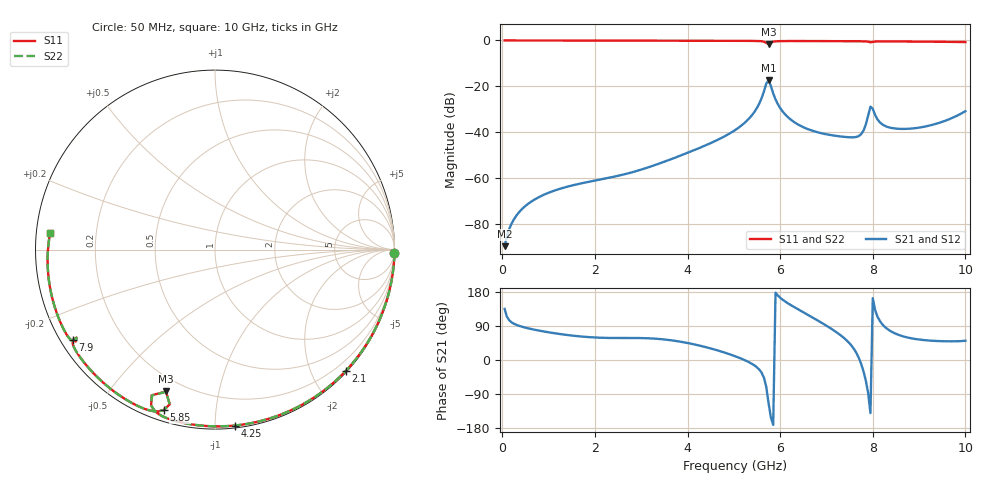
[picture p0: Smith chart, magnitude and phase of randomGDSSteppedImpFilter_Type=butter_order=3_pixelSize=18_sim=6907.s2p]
! freq	dB(S11)	phase(S11)	dB(S12)	phase(S12)
!  dB(S21)	phase(S21)	dB(S22)	phase(S22)
!S-par simulation data
#  GHz  S  DB  R 50
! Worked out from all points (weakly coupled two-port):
!   200 points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, 50 MHz to 10 GHz, reference 50 ohm
!   highest |S21| = -17.28 dB at 5.75 GHz (marker M1); lowest = -89.4 dB at 50 MHz (marker M2)
!   lowest |S11| = -1.6 dB at 5.75 GHz (marker M3), VSWR 11.21, Z = 6.7 - j35.2 ohm
!   |S11| at or under -10 dB: nowhere
!   |S22| runs from -1.5 to 0.0 dB; largest |S21 - S12| = 0
!   S11 on the Smith chart (normalised r, x): 50 MHz: open; 2.1 GHz: 0.02, -2.55; 4.25 GHz: 0.02, -1.12; 5.85 GHz: 0.05, -0.73; 7.9 GHz: 0.03, -0.29; 10 GHz: 0.04, +0.05
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0.05  -0.00 -1.0  -89.42 134.9  -89.42 134.9  -0.00 -1.0
0.2  -0.00 -4.2  -79.64 99.5  -79.64 99.5  -0.00 -4.2
0.4  -0.01 -8.3  -73.82 88.6  -73.82 88.6  -0.01 -8.3
0.75  -0.02 -15.6  -68.54 78.6  -68.54 78.6  -0.02 -15.5
1.75  -0.05 -35.8  -61.92 61.5  -61.92 61.5  -0.05 -35.8
2.1  -0.05 -42.8  -60.51 58.9  -60.51 58.9  -0.05 -42.8
3.4  -0.09 -67.9  -53.43 55.4  -53.43 55.4  -0.09 -67.8
4.25  -0.12 -83.6  -46.80 38.3  -46.80 38.3  -0.12 -83.6
5.05  -0.16 -98.3  -38.66 9.0  -38.66 9.0  -0.16 -98.2
5.45  -0.21 -106.3  -30.89 -14.7  -30.89 -14.7  -0.21 -106.2
5.75  -1.55 -109.1  -17.28 -114.2  -17.28 -114.2  -1.54 -109.0
5.85  -0.55 -107.7  -23.02 -171.2  -23.02 -171.2  -0.55 -107.7
6.15  -0.25 -115.3  -33.00 151.0  -33.00 151.0  -0.25 -115.3
6.7  -0.26 -125.4  -39.25 112.1  -39.25 112.1  -0.26 -125.4
7.65  -0.35 -142.2  -41.91 17.8  -41.91 17.8  -0.35 -142.2
7.8  -0.39 -145.2  -39.19 -30.0  -39.19 -30.0  -0.39 -145.2
7.9  -0.54 -147.6  -32.60 -87.4  -32.60 -87.4  -0.54 -147.5
7.95  -0.78 -147.6  -28.78 -140.3  -28.78 -140.3  -0.78 -147.5
8.15  -0.42 -149.8  -35.53 103.5  -35.53 103.5  -0.42 -149.8
8.35  -0.42 -153.7  -37.77 78.9  -37.77 78.9  -0.42 -153.6
9.15  -0.52 -168.6  -37.34 52.0  -37.34 52.0  -0.52 -168.5
10  -0.70 174.1  -30.75 50.8  -30.75 50.8  -0.70 174.2
